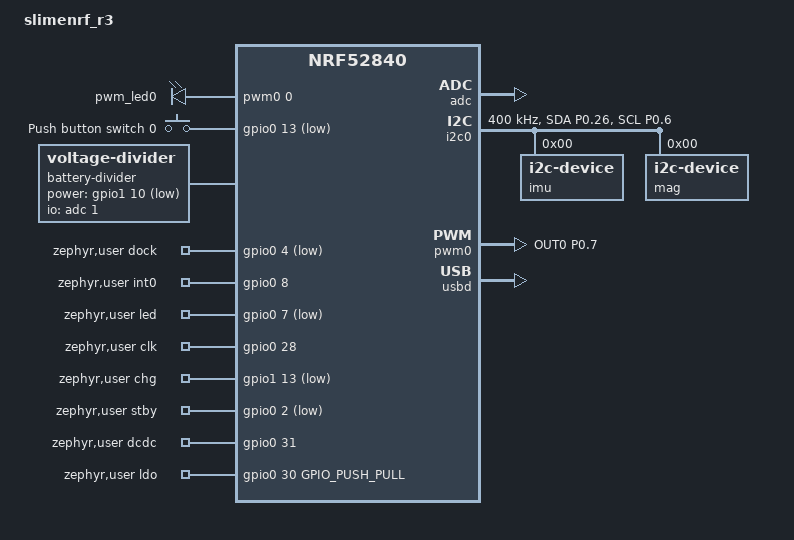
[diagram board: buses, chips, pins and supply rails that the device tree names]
// Copyright (c) 2024 Nordic Semiconductor ASA
// SPDX-License-Identifier: Apache-2.0

/dts-v1/;
#include <nordic/nrf52840_qiaa.dtsi>

//move to dtsi?
&pinctrl {
	i2c0_default: i2c0_default {
		group1 {
			psels = <NRF_PSEL(TWIM_SDA, 0, 26)>, <NRF_PSEL(TWIM_SCL, 0, 6)>;
			bias-disable;
		};
	};

	i2c0_sleep: i2c0_sleep {
		group1 {
			psels = <NRF_PSEL(TWIM_SDA, 0, 26)>, <NRF_PSEL(TWIM_SCL, 0, 6)>;
			bias-disable;
			low-power-enable;
		};
	};

	pwm0_default: pwm0_default {
		group1 {
			psels = <NRF_PSEL(PWM_OUT0, 0, 7)>;
			nordic,drive-mode = <NRF_DRIVE_D0S1>;
			nordic,invert;
		};
	};

	pwm0_sleep: pwm0_sleep {
		group1 {
			psels = <NRF_PSEL(PWM_OUT0, 0, 7)>;
			low-power-enable;
		};
	};
};
//end

/ {
	model = "slimenrf_r3";
	compatible = "slimenrf_r3";

	chosen {
		zephyr,sram = &sram0;
		zephyr,flash = &flash0;
		zephyr,console = &cdc_acm_uart0;
		zephyr,shell-uart = &cdc_acm_uart0;
	};

	pwmleds {
		compatible = "pwm-leds";
		pwm_led0: pwm_led_0 {
			pwms = <&pwm0 0 PWM_MSEC(1) PWM_POLARITY_INVERTED>;
		};
	};

	buttons {
		compatible = "gpio-keys";
		button0: button_0 {
			gpios = <&gpio0 13 (GPIO_PULL_UP | GPIO_ACTIVE_LOW)>;
			label = "Push button switch 0";
		};
	};

	aliases {
		sw0 = &button0;
		pwm-led0 = &pwm_led0;
	};

	battery-divider {
		compatible = "voltage-divider";
		status = "okay";
		io-channels = <&adc 1>;
		output-ohms = <510000>;
		full-ohms = <(1000000+510000)>;
		power-gpios = <&gpio1 10 (GPIO_OPEN_DRAIN|GPIO_ACTIVE_LOW)>;
	};

	zephyr,user {
		dock-gpios = <&gpio0 4 (GPIO_ACTIVE_LOW | GPIO_PULL_UP)>;
		int0-gpios = <&gpio0 8 0>;
		led-gpios = <&gpio0 7 (GPIO_OPEN_DRAIN|GPIO_ACTIVE_LOW)>;
		clk-gpios = <&gpio0 28 GPIO_OPEN_DRAIN>;
		chg-gpios = <&gpio1 13 (GPIO_ACTIVE_LOW | GPIO_PULL_UP)>;
		stby-gpios = <&gpio0 2 (GPIO_ACTIVE_LOW | GPIO_PULL_UP)>;
		dcdc-gpios = <&gpio0 31 GPIO_OPEN_DRAIN>;
		ldo-gpios = <&gpio0 30 GPIO_PUSH_PULL>;
	};

};

&reg1 {
	regulator-initial-mode = <NRF5X_REG_MODE_DCDC>;
};

&adc {
	status = "okay";
};

&gpiote {
	status = "okay";
};

&gpio0 {
	status = "okay";
};

&gpio1 {
	status = "okay";
};

&i2c0 {
	compatible = "nordic,nrf-twim";
	status = "okay";
	zephyr,concat-buf-size = <255>; // probable max for nrf52832
	zephyr,flash-buf-max-size = <255>; // probable max for nrf52832
	clock-frequency = <I2C_BITRATE_FAST>;
	pinctrl-0 = <&i2c0_default>;
	pinctrl-1 = <&i2c0_sleep>;
	pinctrl-names = "default", "sleep";

	imu: imu@0 { // any address out of range (00, 7f, etc. will search all addresses and stored address first if available, specify an address here to search first otherwise
		compatible = "i2c-device";
		label = "imu";
		reg = <0>;
	};

	mag: mag@0 {
		compatible = "i2c-device";
		label = "mag";
		reg = <0>;
	};

};

&pwm0 {
	status = "okay";
	pinctrl-0 = <&pwm0_default>;
	pinctrl-1 = <&pwm0_sleep>;
	pinctrl-names = "default", "sleep";
};

zephyr_udc0: &usbd {
	compatible = "nordic,nrf-usbd";
	status = "okay";
	cdc_acm_uart0: cdc_acm_uart0 {
		compatible = "zephyr,cdc-acm-uart";
	};
};

&cryptocell {
	status = "disabled";
};

&nfct {
	status = "disabled";
};
